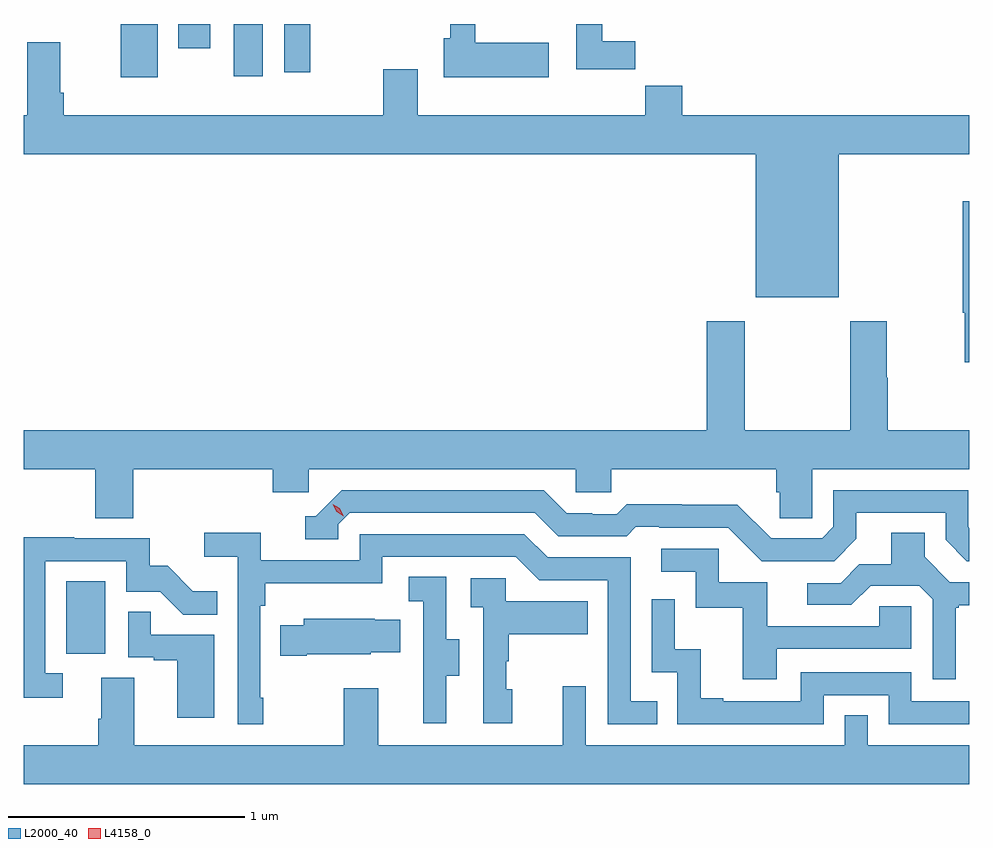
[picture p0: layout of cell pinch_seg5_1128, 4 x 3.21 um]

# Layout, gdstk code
import gdstk
lib = gdstk.Library(unit=1e-6, precision=1e-09)
def R(c, l, rs):  # rectangles x0, y0, x1, y1
    for r in rs: c.add(gdstk.rectangle(r[:2], r[2:], *l))
def P(c, l, *ps):  # polygons
    for p in ps: c.add(gdstk.Polygon(p, *l))
L2000_40 = (2000, 40)
L4158_0 = (4158, 0)

pinch_seg5_1128 = lib.new_cell('pinch_seg5_1128')
R(pinch_seg5_1128, L2000_40, [(848.858,838.662,849.022,838.969), (849.089,841.101,849.244,841.326), (849.566,841.104,849.688,841.326), (849.78,841.122,849.889,841.326), (849.332,841.224,849.466,841.326)])
P(pinch_seg5_1128, L2000_40, [(851.264,841.252),(851.125,841.252),(851.125,841.326),(851.015,841.326),(851.015,841.134),(851.264,841.134)],
  [(850.897,841.246),(850.588,841.246),(850.588,841.326),(850.481,841.326),(850.481,841.266),(850.454,841.266),(850.454,841.1),(850.897,841.1)],
  [(852.124,840.776),(852.677,840.776),(852.677,840.94),(851.462,840.94),(851.462,841.064),(851.305,841.064),(851.305,840.94),(850.345,840.94),(850.345,841.135),(850.198,841.135),(850.198,840.94),(848.846,840.94),(848.846,841.036),(848.833,841.036),(848.833,841.249),(848.693,841.249),(848.693,840.94),(848.677,840.94),(848.677,840.776),(851.774,840.776),(851.774,840.17),(852.124,840.17)],
  [(852.677,840.577),(852.649,840.577),(852.649,840.104),(852.657,840.104),(852.657,839.896),(852.677,839.896)],
  [(849.14,839.444),(849.731,839.444),(849.731,839.346),(849.882,839.346),(849.882,839.444),(851.013,839.444),(851.013,839.346),(851.163,839.346),(851.163,839.444),(851.861,839.444),(851.861,839.346),(851.875,839.346),(851.875,839.236),(852.012,839.236),(852.012,839.444),(852.677,839.444),(852.677,839.608),(852.332,839.608),(852.332,839.831),(852.327,839.831),(852.327,840.07),(852.172,840.07),(852.172,839.608),(851.727,839.608),(851.727,840.07),(851.567,840.07),(851.567,839.608),(848.677,839.608),(848.677,839.444),(848.98,839.444),(848.98,839.236),(849.14,839.236)],
  [(852.199,839.149),(852.199,839.259),(852.576,839.259),(852.576,839.145),(852.666,839.055),(852.677,839.055),(852.677,839.194),(852.672,839.199),(852.672,839.355),(852.102,839.355),(852.102,839.199),(852.054,839.151),(851.838,839.151),(851.696,839.293),(851.46,839.293),(851.46,839.296),(851.227,839.296),(851.185,839.253),(851.082,839.253),(851.082,839.256),(850.975,839.256),(850.876,839.355),(850.023,839.355),(849.912,839.244),(849.869,839.244),(849.869,839.148),(850.008,839.148),(850.008,839.211),(850.056,839.259),(850.839,839.259),(850.938,839.16),(851.227,839.16),(851.266,839.199),(851.365,839.199),(851.365,839.196),(851.658,839.196),(851.799,839.055),(852.105,839.055)],
  [(849.691,838.477),(849.678,838.477),(849.678,838.865),(849.698,838.865),(849.698,838.961),(850.194,838.961),(850.194,839.073),(850.758,839.073),(850.857,838.974),(851.148,838.974),(851.148,838.365),(851.357,838.365),(851.357,838.461),(851.244,838.461),(851.244,839.07),(850.894,839.07),(850.795,839.169),(850.098,839.169),(850.098,839.058),(849.68,839.058),(849.68,839.174),(849.441,839.174),(849.441,839.072),(849.582,839.072),(849.582,838.365),(849.691,838.365)],
  [(852.619,838.857),(852.631,838.857),(852.631,838.868),(852.677,838.868),(852.677,838.965),(852.594,838.965),(852.487,839.072),(852.487,839.174),(852.347,839.174),(852.347,839.042),(852.212,839.042),(852.132,838.962),(851.991,838.962),(851.991,838.869),(852.178,838.869),(852.259,838.95),(852.465,838.95),(852.522,838.893),(852.522,838.554),(852.619,838.554)],
  [(848.842,838.581),(848.769,838.581),(848.769,839.055),(849.111,839.055),(849.111,838.926),(849.255,838.926),(849.353,838.828),(849.497,838.828),(849.497,838.927),(849.393,838.927),(849.286,839.034),(849.21,839.034),(849.21,839.151),(848.891,839.151),(848.891,839.156),(848.677,839.156),(848.677,838.476),(848.842,838.476)],
  [(851.863,838.683),(852.432,838.683),(852.432,838.863),(852.295,838.863),(852.295,838.779),(851.821,838.779),(851.821,838.965),(851.616,838.965),(851.616,839.106),(851.373,839.106),(851.373,839.01),(851.52,839.01),(851.52,838.857),(851.719,838.857),(851.719,838.554),(851.863,838.554)],
  [(850.465,838.57),(850.519,838.57),(850.519,838.725),(850.464,838.725),(850.464,838.988),(850.305,838.988),(850.305,838.885),(850.368,838.885),(850.368,838.581),(850.367,838.581),(850.367,838.368),(850.465,838.368)],
  [(850.744,838.512),(850.719,838.512),(850.719,838.631),(850.729,838.631),(850.729,838.745),(851.063,838.745),(851.063,838.885),(850.716,838.885),(850.716,838.983),(850.569,838.983),(850.569,838.859),(850.62,838.859),(850.62,838.368),(850.744,838.368)],
  [(852.06,838.488),(852.336,838.488),(852.336,838.365),(852.677,838.365),(852.677,838.461),(852.432,838.461),(852.432,838.584),(851.964,838.584),(851.964,838.461),(851.635,838.461),(851.635,838.474),(851.54,838.474),(851.54,838.682),(851.43,838.682),(851.43,838.894),(851.334,838.894),(851.334,838.584),(851.442,838.584),(851.442,838.365),(852.06,838.365)],
  [(849.484,838.743),(849.215,838.743),(849.215,838.841),(849.12,838.841),(849.12,838.647),(849.227,838.647),(849.227,838.635),(849.326,838.635),(849.326,838.392),(849.484,838.392)],
  [(849.874,838.661),(850.146,838.661),(850.146,838.67),(850.271,838.67),(850.271,838.807),(850.163,838.807),(850.163,838.81),(849.861,838.81),(849.861,838.783),(849.763,838.783),(849.763,838.654),(849.874,838.654)],
  [(852.677,838.276),(852.246,838.276),(852.246,838.403),(852.15,838.403),(852.15,838.276),(851.055,838.276),(851.055,838.525),(850.958,838.525),(850.958,838.276),(850.177,838.276),(850.177,838.516),(850.03,838.516),(850.03,838.276),(849.145,838.276),(849.145,838.562),(849.005,838.562),(849.005,838.388),(848.993,838.388),(848.993,838.276),(848.677,838.276),(848.677,838.112),(852.677,838.112)])
P(pinch_seg5_1128, L4158_0, [(850.032,839.245),(850.001,839.264),(849.984,839.296),(849.984,839.296),(849.984,839.296),(850.015,839.278),(850.032,839.245),(850.032,839.245)])

lib.write_gds('pinch_seg5_1128.gds')
